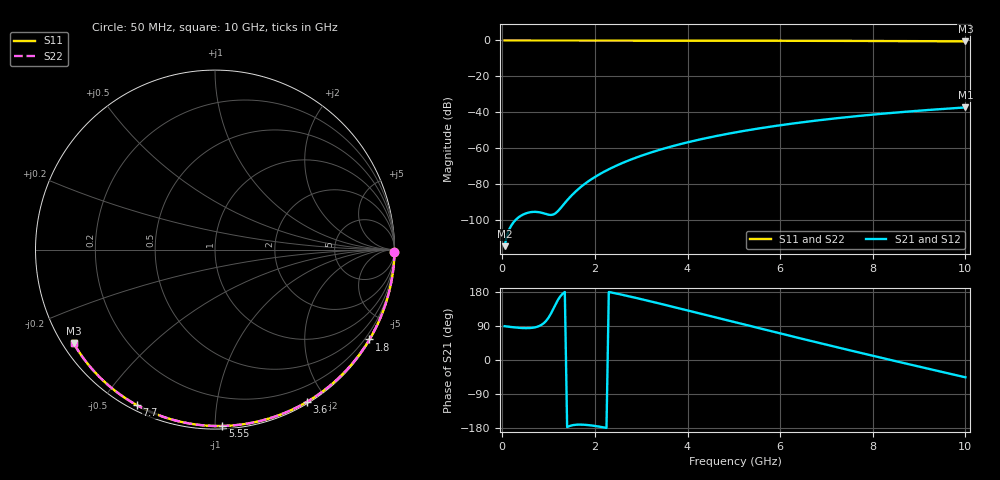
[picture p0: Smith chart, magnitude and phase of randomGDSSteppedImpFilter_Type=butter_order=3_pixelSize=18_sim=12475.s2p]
! freq	dB(S11)	phase(S11)	dB(S12)	phase(S12)
!  dB(S21)	phase(S21)	dB(S22)	phase(S22)
!S-par simulation data
#  GHz  S  DB  R 50
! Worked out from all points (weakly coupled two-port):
!   200 points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, 50 MHz to 10 GHz, reference 50 ohm
!   highest |S21| = -37.42 dB at 10 GHz (marker M1); lowest = -114.9 dB at 50 MHz (marker M2)
!   lowest |S11| = -0.5 dB at 10 GHz (marker M3), VSWR 35.21, Z = 1.55 - j15 ohm
!   |S11| at or under -10 dB: nowhere
!   |S22| runs from -0.5 to 0.0 dB; largest |S21 - S12| = 0
!   S11 on the Smith chart (normalised r, x): 50 MHz: open; 1.8 GHz: 0.03, -3.71; 3.6 GHz: 0.02, -1.77; 5.55 GHz: 0.02, -1.04; 7.7 GHz: 0.02, -0.62; 10 GHz: 0.03, -0.30
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0.05  -0.00 -0.9  -114.88 89.2  -114.88 89.2  -0.00 -0.9
0.45  -0.01 -7.7  -97.20 84.2  -97.20 84.2  -0.01 -7.7
0.9  -0.02 -15.2  -96.57 97.6  -96.57 97.6  -0.02 -15.2
1.3  -0.03 -21.9  -92.34 174.4  -92.34 174.4  -0.03 -21.9
1.75  -0.04 -29.3  -80.71 -170.7  -80.71 -170.7  -0.04 -29.3
1.8  -0.04 -30.2  -79.73 -171.1  -79.73 -171.1  -0.04 -30.2
1.95  -0.04 -32.6  -77.06 -173.1  -77.06 -173.1  -0.04 -32.6
2.1  -0.04 -35.1  -74.72 -175.9  -74.72 -175.9  -0.04 -35.1
2.3  -0.05 -38.3  -71.94 179.6  -71.94 179.6  -0.05 -38.3
2.5  -0.05 -41.5  -69.49 174.5  -69.49 174.5  -0.05 -41.5
2.9  -0.06 -47.9  -65.31 163.5  -65.31 163.5  -0.06 -47.9
3.4  -0.07 -55.7  -61.05 148.9  -61.05 148.9  -0.07 -55.7
3.6  -0.08 -58.8  -59.57 142.9  -59.57 142.9  -0.08 -58.8
4.3  -0.10 -69.4  -55.11 121.7  -55.11 121.7  -0.10 -69.4
5.05  -0.12 -80.4  -51.27 98.9  -51.27 98.9  -0.12 -80.4
5.55  -0.14 -87.6  -49.10 83.7  -49.10 83.7  -0.14 -87.6
6.1  -0.17 -95.3  -47.00 67.2  -47.00 67.2  -0.17 -95.3
6.7  -0.20 -103.5  -44.98 49.3  -44.98 49.3  -0.20 -103.5
7.7  -0.27 -116.8  -42.15 19.9  -42.15 19.9  -0.27 -116.8
8.35  -0.32 -125.2  -40.59 1.1  -40.59 1.1  -0.32 -125.2
9.2  -0.40 -136.2  -38.83 -23.1  -38.83 -23.1  -0.40 -136.2
10  -0.49 -146.5  -37.42 -45.6  -37.42 -45.6  -0.49 -146.5
